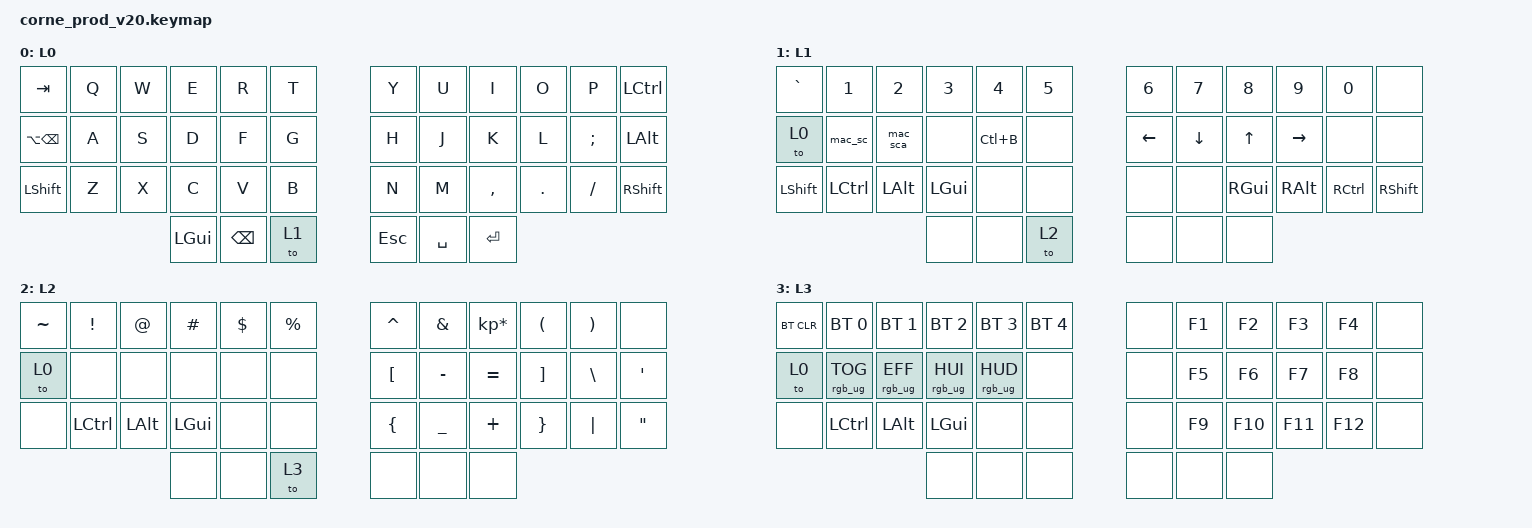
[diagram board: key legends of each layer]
/*
 * Copyright (c) 2020 The ZMK Contributors
 * SPDX-License-Identifier: MIT
 *
 * Corne Keymap v20
 * Reference: https://zmk.dev/docs/keymaps/behaviors/key-press
 * Notation (LP/RP/LT/RT, L0–L3, M1–M4/M1b–M4b): corne_prod_v20_notation.md
 *
 * Changes from v19:
 *  - [cc] Four layers only: L0 Default, L1 Lower, L2 Raise, L3 Func.
 *    v19 Num (3) and Template (5) removed; v19 Func moved to L3.
 *  - [cc] Layer switching is persistent (&to), no hold-layers:
 *      LT3 steps L0 → L1 → L2 → L3 (none on L3);
 *      LP2 on L1–L3 jumps back to L0.
 *  - [cc] No transparent keys: every unused key is &none.
 *  - [cc] L0 outer/thumb keys reassigned: LP1 TAB, LP2 Alt+BSPC, LP3 LShift,
 *    RP1 Ctrl, RP2 Alt, RP3 RShift, LT1 Cmd, LT2 BSPC, RT3 ESC, RT2 SPC, RT1 ENT.
 *    All modifiers are plain holds (no sticky keys, no mod-taps).
 *  - [cc] L1–L3: Ctrl/Alt/Cmd on Z X C; L1 also has mirrored right mods on
 *    / . , and Shift on LP3/RP3.
 *  - [cc] L2: ' and " moved to RP2/RP3; ~ on LP1.
 *  - [cc] L3: F1–F12 on the U–/ 4×3 block, RGB on A S D F, BT_CLR on LP1;
 *    media keys removed.
 *  - [cc] Removed unused macros/behaviors (ctrl_alt_*, cmd_*, macos_input,
 *    lm_lwr_lgui, ht_lm_esc, ht_sl_mo) and the Num layer.
 *  - [cc] Each layer has a display-name so the OLED shows L0–L3.
 */

#include <behaviors.dtsi>
#include <dt-bindings/zmk/keys.h>
#include <dt-bindings/zmk/bt.h>
#include <dt-bindings/zmk/rgb.h>

// ============================================================
// Hardware
// ============================================================

&led_strip {
    chain-length = <27>;
};

// ============================================================
// Layer indices
// ============================================================

#define L0 0
#define L1 1
#define L2 2
#define L3 3

// ============================================================
// Macros
// ============================================================

/ {
    macros {

        // macOS screenshot to clipboard (Cmd+Ctrl+Shift+4)
        mac_sc: macos_screenshot {
            compatible = "zmk,behavior-macro";
            #binding-cells = <0>;
            bindings
                = <&macro_press   &kp LGUI>
                , <&macro_press   &kp LCTRL>
                , <&macro_press   &kp LSHFT>
                , <&macro_tap     &kp N4>
                , <&macro_release &kp LSHFT>
                , <&macro_release &kp LCTRL>
                , <&macro_release &kp LGUI>
                ;
        };

        // macOS screenshot with annotation (Cmd+Shift+4)
        mac_sca: macos_screenshot_with_annotation {
            compatible = "zmk,behavior-macro";
            #binding-cells = <0>;
            bindings
                = <&macro_press   &kp LGUI>
                , <&macro_press   &kp LSHFT>
                , <&macro_tap     &kp N4>
                , <&macro_release &kp LSHFT>
                , <&macro_release &kp LGUI>
                ;
        };
    };
};

// ============================================================
// Keymap
// ============================================================

/ {
    keymap {
        compatible = "zmk,keymap";

        // ----------------------------------------------------
        // L0 — Default (QWERTY)
        //
        // │ TAB    │ Q │ W │ E │ R │ T │   │ Y │ U │ I │ O │ P │ M1  │
        // │ M2+BSPC│ A │ S │ D │ F │ G │   │ H │ J │ K │ L │ ; │ M2  │
        // │ M4     │ Z │ X │ C │ V │ B │   │ N │ M │ , │ . │ / │ M4b │
        //        M3 │ BSPC │ →L1     ESC │ SPC │ ENT
        // ----------------------------------------------------
        default_layer {
            display-name = "L0";
            bindings = <
   &kp TAB       &kp Q  &kp W  &kp E  &kp R     &kp T        &kp Y    &kp U      &kp I      &kp O    &kp P     &kp LCTRL
   &kp LA(BSPC)  &kp A  &kp S  &kp D  &kp F     &kp G        &kp H    &kp J      &kp K      &kp L    &kp SEMI  &kp LALT
   &kp LSHFT     &kp Z  &kp X  &kp C  &kp V     &kp B        &kp N    &kp M      &kp COMMA  &kp DOT  &kp FSLH  &kp RSHFT
                               &kp LGUI  &kp BSPC  &to L1    &kp ESC  &kp SPACE  &kp RET
            >;
        };

        // ----------------------------------------------------
        // L1 — Lower: numbers, screenshots, Ctrl+B, arrows, mods
        //
        // │ `   │ 1  │ 2   │ 3  │ 4   │ 5 │   │ 6 │ 7 │ 8   │ 9   │ 0   │ ✕   │
        // │ →L0 │ SC │ SCA │ ✕  │ C-b │ ✕ │   │ ← │ ↓ │ ↑   │ →   │ ✕   │ ✕   │
        // │ M4  │ M1 │ M2  │ M3 │ ✕   │ ✕ │   │ ✕ │ ✕ │ M3b │ M2b │ M1b │ M4b │
        //        ✕ │ ✕ │ →L2     ✕ │ ✕ │ ✕
        // ----------------------------------------------------
        lower_layer {
            display-name = "L1";
            bindings = <
   &kp GRAVE  &kp N1     &kp N2    &kp N3    &kp N4     &kp N5     &kp N6    &kp N7    &kp N8    &kp N9     &kp N0     &none
   &to L0     &mac_sc    &mac_sca  &none     &kp LC(B)  &none      &kp LEFT  &kp DOWN  &kp UP    &kp RIGHT  &none      &none
   &kp LSHFT  &kp LCTRL  &kp LALT  &kp LGUI  &none      &none      &none     &none     &kp RGUI  &kp RALT   &kp RCTRL  &kp RSHFT
                                   &none     &none      &to L2     &none     &none     &none
            >;
        };

        // ----------------------------------------------------
        // L2 — Raise: symbols
        //
        // │ ~   │ !  │ @  │ #  │ $ │ % │   │ ^ │ & │ * │ ( │ ) │ ✕ │
        // │ →L0 │ ✕  │ ✕  │ ✕  │ ✕ │ ✕ │   │ [ │ - │ = │ ] │ \ │ ' │
        // │ ✕   │ M1 │ M2 │ M3 │ ✕ │ ✕ │   │ { │ _ │ + │ } │ | │ " │
        //        ✕ │ ✕ │ →L3     ✕ │ ✕ │ ✕
        // ----------------------------------------------------
        raise_layer {
            display-name = "L2";
            bindings = <
   &kp TILDE  &kp EXCL   &kp AT    &kp HASH  &kp DLLR  &kp PRCNT    &kp CARET  &kp AMPS   &kp KP_MULTIPLY  &kp LPAR  &kp RPAR  &none
   &to L0     &none      &none     &none     &none     &none        &kp LBKT   &kp MINUS  &kp EQUAL        &kp RBKT  &kp BSLH  &kp SQT
   &none      &kp LCTRL  &kp LALT  &kp LGUI  &none     &none        &kp LBRC   &kp UNDER  &kp PLUS         &kp RBRC  &kp PIPE  &kp DQT
                                   &none     &none     &to L3       &none      &none      &none
            >;
        };

        // ----------------------------------------------------
        // L3 — Func: Bluetooth, RGB underglow, F1–F12
        //
        // │ BT_CLR │ BT0 │ BT1 │ BT2 │ BT3 │ BT4 │   │ ✕ │ F1 │ F2  │ F3  │ F4  │ ✕ │
        // │ →L0    │ TOG │ EFF │ HUI │ HUD │ ✕   │   │ ✕ │ F5 │ F6  │ F7  │ F8  │ ✕ │
        // │ ✕      │ M1  │ M2  │ M3  │ ✕   │ ✕   │   │ ✕ │ F9 │ F10 │ F11 │ F12 │ ✕ │
        //        ✕ │ ✕ │ ✕     ✕ │ ✕ │ ✕
        // LT3 is &none here: the cycle stops at L3; LP2 is the only exit.
        // ----------------------------------------------------
        func_layer {
            display-name = "L3";
            bindings = <
   &bt BT_CLR  &bt BT_SEL 0     &bt BT_SEL 1     &bt BT_SEL 2     &bt BT_SEL 3     &bt BT_SEL 4    &none  &kp F1  &kp F2   &kp F3   &kp F4   &none
   &to L0      &rgb_ug RGB_TOG  &rgb_ug RGB_EFF  &rgb_ug RGB_HUI  &rgb_ug RGB_HUD  &none           &none  &kp F5  &kp F6   &kp F7   &kp F8   &none
   &none       &kp LCTRL        &kp LALT         &kp LGUI         &none            &none           &none  &kp F9  &kp F10  &kp F11  &kp F12  &none
                                                 &none            &none            &none           &none  &none   &none
            >;
        };
    };
};
